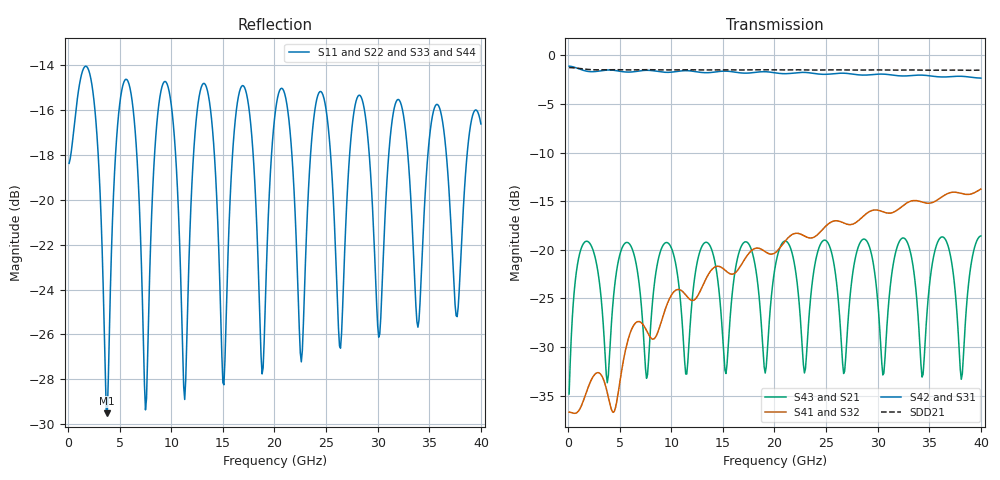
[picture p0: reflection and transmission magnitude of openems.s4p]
! T_ts6_diff_sl: Edge-coupled stripline pair In2, w 0.1 / s 0.15 mm, 20 mm
! stackup: ThunderScope Rev5.3 6-layer (FR408HR / FR-4, from the board file)
! ports: 1 near A, 2 near B, 3 far A, 4 far B
! openEMS 0.37.0, staircase, fine mesh (dfine 0.0175 mm), 1043700 cells
# Hz S RI R 50
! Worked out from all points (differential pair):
!   400 points, 100 MHz to 40 GHz, reference 50 ohm
!   strongest paths, dB at 100 MHz, 10.1 GHz, 20.1 GHz, 30.1 GHz, 40 GHz:
!     S42: -1.1, -1.7, -1.8, -1.9, -2.3
!     S31: -1.1, -1.7, -1.8, -1.9, -2.3
!     S41: -36.7, -24.5, -20.3, -15.9, -13.7
!     S32: -36.7, -24.5, -20.3, -15.9, -13.7
!     S43: -34.8, -20.1, -21.6, -26.6, -18.6
!     S21: -34.8, -20.1, -21.6, -26.6, -18.6
!   taken as a pair (ports 2,1 in; 4,3 out), SDD21 dB: -1.3, -1.5, -1.5, -1.5, -1.5
!   lowest |S11| = -29.5 dB at 3.8 GHz (marker M1), VSWR 1.07, Z = 53.1 + j1.48 ohm
!   |S11| at or under -10 dB: start of sweep to end of sweep
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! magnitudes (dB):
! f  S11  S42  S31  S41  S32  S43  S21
! 100 MHz  -18.4  -1.1  -1.1  -36.7  -36.7  -34.8  -34.8
! 1.7 GHz  -14.1  -1.6  -1.6  -34.9  -34.9  -19.1  -19.1
! 3.8 GHz  -29.5  -1.5  -1.5  -34.7  -34.7  -33.7  -33.7
! 5.6 GHz  -14.6  -1.7  -1.7  -30.1  -30.1  -19.3  -19.3
! 7.5 GHz  -29.4  -1.5  -1.5  -28.1  -28.1  -32.2  -32.2
! 38.1 GHz  -22.2  -2.2  -2.2  -14.2  -14.2  -33.3  -33.3
! 40 GHz  -16.6  -2.3  -2.3  -13.7  -13.7  -18.6  -18.6
